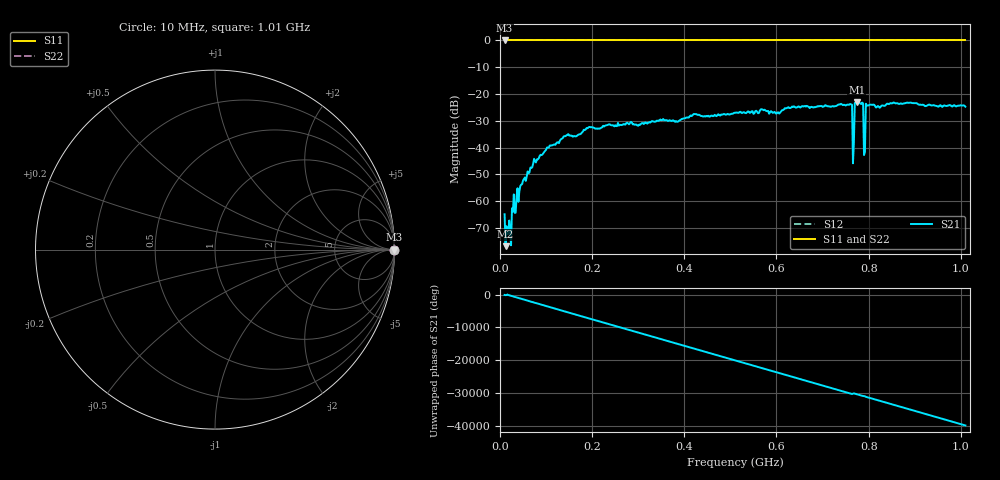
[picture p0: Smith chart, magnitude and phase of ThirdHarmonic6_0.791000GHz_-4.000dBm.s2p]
! 8/16/2025 2:22:59 AM
! C:\ANRITSUVNA\TEMP\TEMP.S2P
! CHANNEL.1
! TR.MEASUREMENT
! RAW.DATA
! RF.CORRECTION.OFF
! AVERAGING.OFF
! IF.BANDWIDTH: 5KHZ
! SWEEPTYPE:  FREQ.SWEEP(Linear)
! Reference Plane Port Info
! PORT:  PORT1  PORT2
! DISTANCE:  0  m  0  m
! TIME:  0  s  0  s
! PHASE.OFFSET:  0  deg.  0  deg.
! LOSS:  0  dB  0  dB
! REF.LOSS:  0  dB  0  dB
! REF.FREQ:  0  Hz  0  Hz
! Power Info
! POWER:  -20  dBm  -20  dBm
! EFF.POWER:  -20  dBm  -20  dBm
! SOURCE.ATTEN:  0  dB  0  dB
! TEST.ATTEN:  0  dB  0  dB
# GHZ S RI R 50.0
! FREQ.GHZ  S11RE  S11IM  S21RE  S21IM  S12RE  S12IM  S22RE  S22IM
!; PortSelection: Port_12
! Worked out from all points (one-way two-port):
!   501 points, 10 MHz to 1.01 GHz, reference 50 ohm
!   highest |S21| = -22.98 dB at 774 MHz (marker M1); lowest = -76.7 dB at 12 MHz (marker M2)
!   lowest |S11| = 0.0 dB at 10 MHz (marker M3)
!   |S11| at or under -10 dB: nowhere
!   |S22| runs from 0.0 to 0.0 dB; largest |S21 - S12| = 1.1
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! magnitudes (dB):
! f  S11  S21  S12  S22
! 10 MHz  0.0  -64.8  0.0  0.0
! 12 MHz  0.0  -76.7  0.0  0.0
! 20 MHz  0.0  -67.2  0.0  0.0
! 30 MHz  0.0  -57.4  0.0  0.0
! 40 MHz  0.0  -60.2  0.0  0.0
! 76 MHz  0.0  -45.1  0.0  0.0
! 142 MHz  0.0  -35.7  0.0  0.0
! 178 MHz  0.0  -34.3  0.0  0.0
! 196 MHz  0.0  -32.4  0.0  0.0
! 344 MHz  0.0  -30.0  0.0  0.0
! 510 MHz  0.0  -26.9  0.0  0.0
! 678 MHz  0.0  -24.9  0.0  0.0
! 760 MHz  0.0  -23.7  0.0  0.0
! 764 MHz  0.0  -24.0  0.0  0.0
! 770 MHz  0.0  -23.3  0.0  0.0
! 774 MHz  0.0  -23.0  0.0  0.0
! 784 MHz  0.0  -23.7  0.0  0.0
! 788 MHz  0.0  -23.5  0.0  0.0
! 794 MHz  0.0  -23.6  0.0  0.0
! 798 MHz  0.0  -24.3  0.0  0.0
! 844 MHz  0.0  -23.7  0.0  0.0
! 1.01 GHz  0.0  -24.7  0.0  0.0
